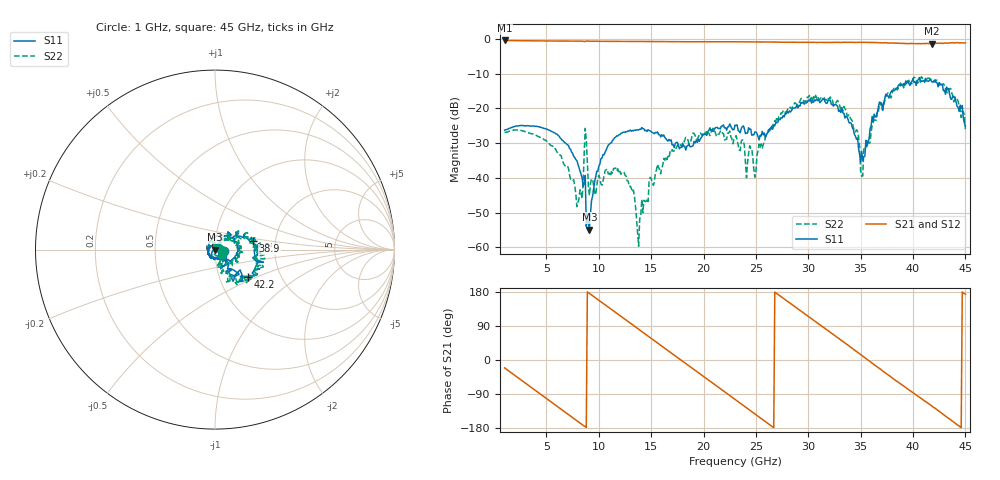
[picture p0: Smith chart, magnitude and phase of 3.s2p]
!Keysight Technologies,N5247B,MY61255062,A.19.80.06
!Date: Monday, May 18, 2026 12:40:08
!Correction: S11(Cdelta 2-Port  )
!S21(Cdelta 2-Port  )
!S12(Cdelta 2-Port  )
!S22(Cdelta 2-Port  )
!S2P File: Measurements: S11, S21, S12, S22:
# Hz S  dB  R 50
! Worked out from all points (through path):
!   441 points, 1 GHz to 45 GHz, reference 50 ohm
!   highest |S21| = -0.41 dB at 1 GHz (marker M1); lowest = -1.4 dB at 41.8 GHz (marker M2)
!   group delay of S21, straight-line fit = 55.9 ps
!   lowest |S11| = -54.9 dB at 9.1 GHz (marker M3), VSWR 1.00, Z = 50.1 - j0.118 ohm
!   |S11| at or under -10 dB: start of sweep to end of sweep
!   |S22| runs from -59.7 to -10.9 dB; largest |S21 - S12| = 0.017
!   S11 on the Smith chart (normalised r, x): 1 GHz: 1.10, -0.01; 38.9 GHz: 1.53, +0.15; 42.2 GHz: 1.36, -0.44; 45 GHz: 1.09, -0.07
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1e9  -26.27 -7.4  -0.41 -20.9  -0.41 -20.9  -26.87 -8.0
4.6e9  -25.64 -80.0  -0.55 -93.6  -0.54 -93.6  -28.73 -72.3
7.9e9  -35.07 -143.6  -0.60 -160.2  -0.60 -160.2  -48.31 -101.0
8.4e9  -39.98 -156.2  -0.62 -170.4  -0.62 -170.3  -45.96 -8.9
8.7e9  -39.30 146.3  -0.71 -175.3  -0.71 -175.3  -25.74 104.3
9.1e9  -54.91 -41.1  -0.63 175.6  -0.62 175.6  -45.05 -120.2
1.02e10  -34.49 -24.1  -0.66 153.5  -0.66 153.5  -41.79 -8.9
1.24e10  -26.84 -74.5  -0.71 109.5  -0.71 109.5  -38.31 -67.7
1.38e10  -26.23 -101.5  -0.70 81.1  -0.69 81.1  -59.70 -88.6
1.57e10  -27.56 -149.8  -0.73 42.9  -0.73 42.9  -36.98 92.3
1.9e10  -30.76 62.7  -0.79 -23.3  -0.78 -23.3  -27.08 31.8
2.3e10  -24.82 -73.8  -0.80 -103.9  -0.79 -104.0  -28.63 -17.5
2.49e10  -26.74 -148.0  -0.84 -142.4  -0.83 -142.4  -39.84 43.1
2.67e10  -24.84 112.7  -0.88 -178.7  -0.87 -178.7  -24.53 53.9
3.04e10  -17.79 8.7  -0.97 107.0  -0.98 107.0  -18.06 0.6
3.36e10  -22.24 -49.9  -0.95 42.7  -0.94 42.5  -20.59 -51.3
3.52e10  -35.02 6.9  -0.95 10.2  -0.96 10.2  -39.48 -61.5
3.77e10  -17.01 32.8  -1.17 -40.8  -1.13 -41.0  -16.02 38.7
3.89e10  -13.29 12.4  -1.25 -64.5  -1.24 -64.7  -13.25 15.5
4.18e10  -12.38 -36.6  -1.36 -121.6  -1.31 -121.6  -11.99 -34.8
4.22e10  -12.51 -39.9  -1.21 -129.4  -1.26 -129.5  -11.93 -40.3
4.5e10  -25.09 -36.9  -1.08 173.4  -1.10 172.8  -25.98 -39.8
